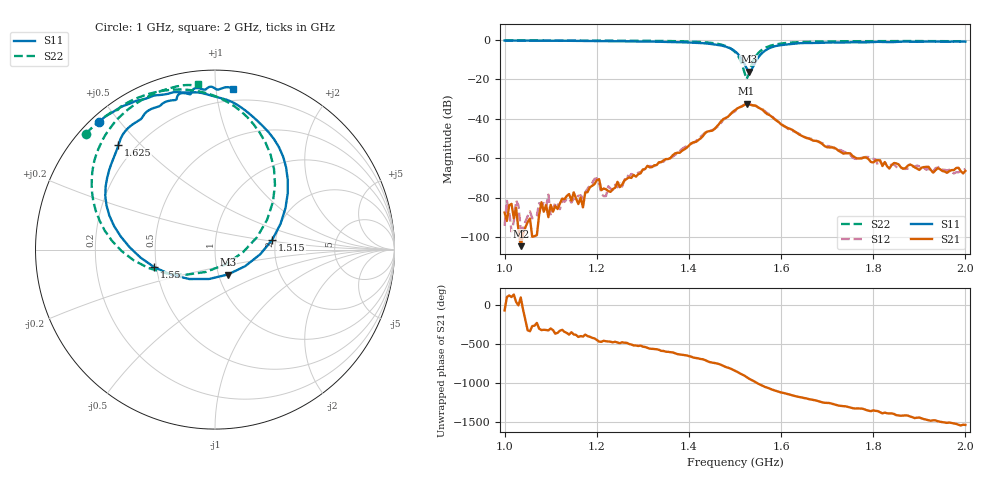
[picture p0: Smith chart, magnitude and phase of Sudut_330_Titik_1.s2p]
# Hz S RI R 50
! CMT, C1220, 16058040, 17.2.0/1
! Date: 14/08/2018 12:59:09
! Data: Format (Calibration Info)
! Freq  S11: Re/Im (F2)  S21: Re/Im (F2)  S12: Re/Im (F2)  S22: Re/Im (F2)
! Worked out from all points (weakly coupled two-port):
!   201 points, 1 GHz to 2 GHz, reference 50 ohm
!   highest |S21| = -32.41 dB at 1.525 GHz (marker M1); lowest = -104.6 dB at 1.035 GHz (marker M2)
!   lowest |S11| = -16.1 dB at 1.53 GHz (marker M3), VSWR 1.37, Z = 55.4 - j15.8 ohm
!   |S11| at or under -10 dB: 1.515 GHz to 1.548 GHz (32.13 MHz wide, 2.1 % of centre)
!   |S22| runs from -19.9 to -0.3 dB; largest |S21 - S12| = 0.00099
!   S11 on the Smith chart (normalised r, x): 1 GHz: 0.02, +0.44; 1.515 GHz: 1.92, +0.23; 1.55 GHz: 0.49, -0.11; 1.625 GHz: 0.14, +0.43; 2 GHz: 0.11, +1.11
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1e9  -0.648 0.7116  1.29e-05 -3.97e-05  -1.92e-05 -1.44e-06  -0.7191 0.6459
1.035e9  -0.6171 0.7371  -3.86e-07 5.86e-06  -1.35e-05 7.9e-06  -0.6939 0.6714
1.17e9  -0.4633 0.8186  3.87e-05 -4.14e-05  7.51e-05 -6.14e-05  -0.5767 0.7657
1.195e9  -0.4266 0.8321  7.57e-05 -0.000207  8.34e-05 -0.000287  -0.5475 0.7778
1.205e9  -0.4135 0.8342  -0.000103 -0.000276  -7.97e-05 -0.000215  -0.5403 0.7785
1.21e9  -0.4069 0.8355  -6.2e-05 -0.000142  -6.15e-05 -0.000109  -0.5382 0.7815
1.22e9  -0.3923 0.8392  -4.64e-05 -0.000156  -2.68e-05 -0.000106  -0.5307 0.791
1.225e9  -0.3841 0.8415  -4.76e-05 -0.000138  -2.07e-05 -0.000193  -0.5255 0.796
1.255e9  -0.3365 0.8587  -0.000105 -0.000187  -0.000127 -0.000141  -0.488 0.8189
1.265e9  -0.3215 0.8604  -0.000177 -0.000241  -0.000223 -0.000292  -0.4741 0.8261
1.335e9  -0.1926 0.876  -0.000637 0.000463  -0.000568 0.000536  -0.3598 0.87
1.45e9  0.191 0.7576  0.00468 -0.00163  0.0047 -0.00195  0.0457 0.8346
1.5e9  0.4053 0.3142  -0.00914 -0.0137  -0.00858 -0.0129  0.3342 0.362
1.515e9  0.3183 0.0536  -0.0203 -0.00381  -0.0204 -0.00434  0.2345 0.0696
1.525e9  0.1683 -0.0922  -0.0219 0.00969  -0.0222 0.00962  0.0608 -0.0811
1.53e9  0.0719 -0.1388  -0.0167 0.016  -0.0169 0.0161  -0.0497 -0.1244
1.55e9  -0.3381 -0.0981  0.00604 0.0185  0.00526 0.0187  -0.4538 -0.0591
1.58e9  -0.6044 0.2461  0.0112 -0.000674  0.0116 -0.00111  -0.6777 0.267
1.625e9  -0.5379 0.5825  0.00096 -0.00508  0.00105 -0.00478  -0.6489 0.5627
1.67e9  -0.4244 0.7191  -0.00207 -0.00186  -0.00213 -0.00199  -0.5658 0.7011
1.835e9  -0.1392 0.8653  0.000346 0.00042  0.000439 0.000499  -0.3149 0.8785
2e9  0.0977 0.897  -5.41e-05 -0.000473  -9.37e-05 -0.000524  -0.0972 0.9225
